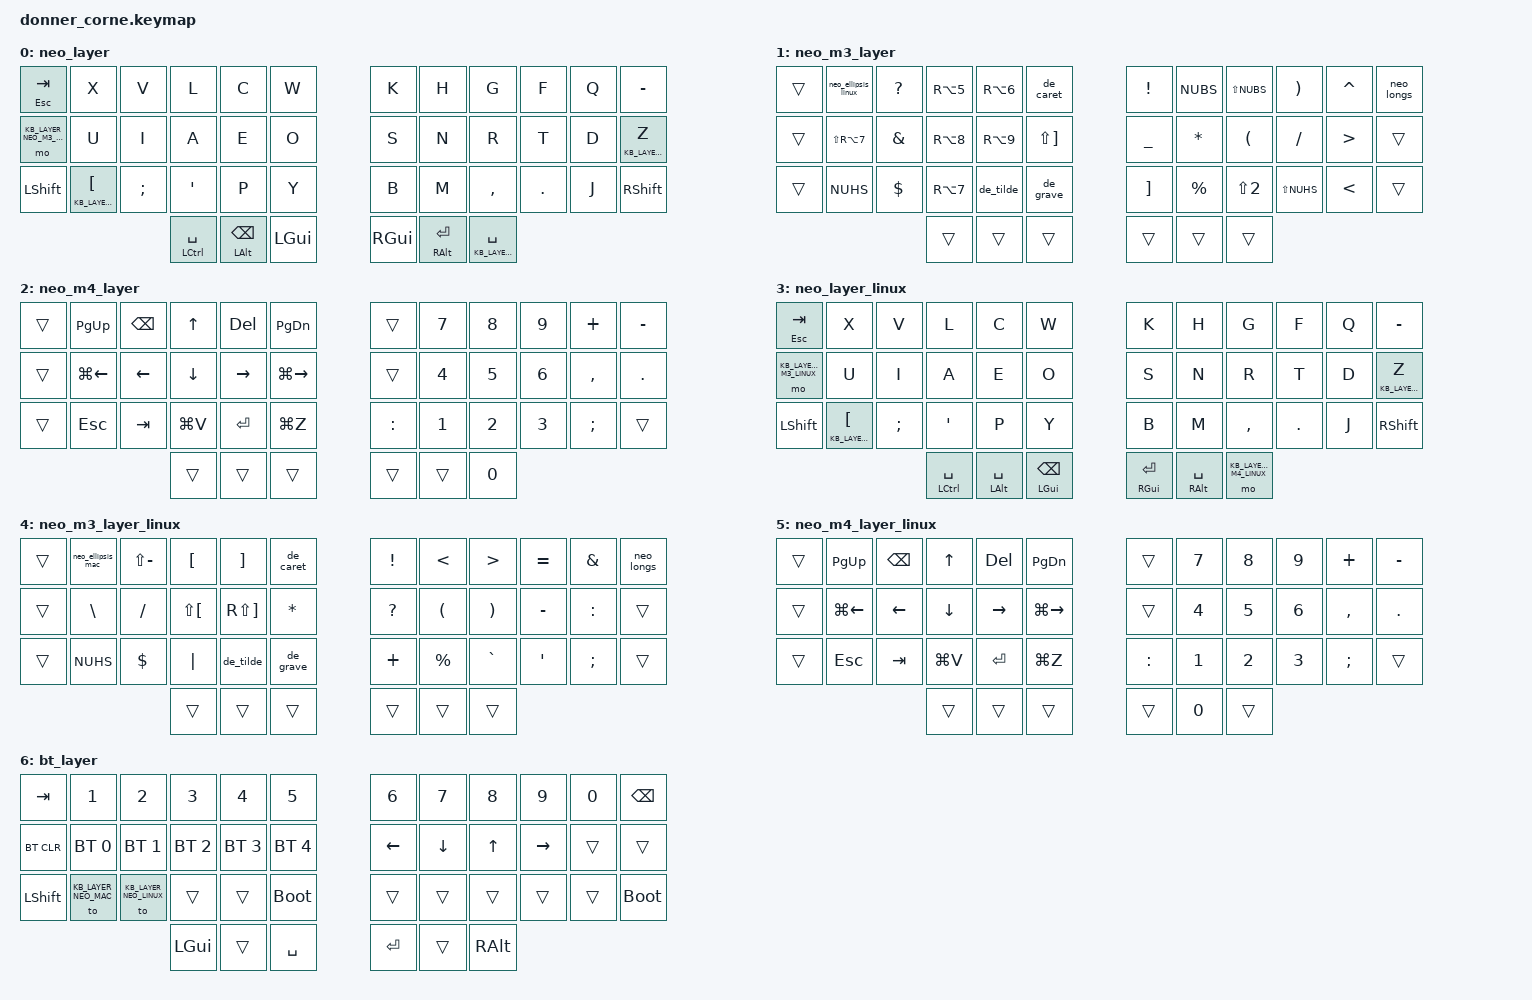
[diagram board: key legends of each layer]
/*
 * Copyright (c) 2020 The ZMK Contributors
 *
 * SPDX-License-Identifier: MIT
 */

#include <behaviors.dtsi>
#include <dt-bindings/zmk/keys.h>
#include <dt-bindings/zmk/bt.h>

#define KB_LAYER_NEO_MAC  0
#define KB_LAYER_NEO_M3_MAC  1
#define KB_LAYER_NEO_M4_MAC  2
#define KB_LAYER_NEO_LINUX  3
#define KB_LAYER_NEO_M3_LINUX  4
#define KB_LAYER_NEO_M4_LINUX  5
#define KB_LAYER_BT  6

/ {
        macros {
            neo_ellipsis_mac: neo_ellipsis_mac {
                compatible = "zmk,behavior-macro";
                #binding-cells = <0>;
                wait-ms = <30>;
                tap-ms = <30>;
                bindings = <
                    /* Platzhalter */
                    &kp DOT &kp DOT &kp DOT
                >;
            };

            neo_ellipsis_linux: neo_ellipsis_linux {
                compatible = "zmk,behavior-macro";
                #binding-cells = <0>;
                wait-ms = <30>;
                tap-ms = <30>;
                bindings = <
                    /* Platzhalter */
                    &kp DOT &kp DOT &kp DOT
                >;
            };

            neo_longs: neo_longs {
                compatible = "zmk,behavior-macro";
                #binding-cells = <0>;
                wait-ms = <30>;
                tap-ms = <30>;
                bindings = <
                    /* Platzhalter */
                    &trans
                >;
            };

            de_tilde: de_tilde {
                compatible = "zmk,behavior-macro";
                #binding-cells = <0>;
                wait-ms = <30>;
                tap-ms = <30>;
                bindings = <
                    &kp RA(N)     // Option + N → ~ (dead key)
                    &kp SPACE     // ergibt tatsächliches "~"
                >;
            };

            de_grave: de_grave { // '`'-Zeichen
                compatible = "zmk,behavior-macro";
                #binding-cells = <0>;
                wait-ms = <20>;
                tap-ms = <20>;
                bindings = <
                    &kp LS(EQUAL)
                    &kp SPACE
                >;
            };

            de_caret: de_caret { // '^'-Zeichen
                compatible = "zmk,behavior-macro";
                #binding-cells = <0>;
                wait-ms = <30>;
                tap-ms = <30>;
                bindings = <
                    &kp GRAVE
                    &kp SPACE
                >;
            };
        };
        keymap {
                compatible = "zmk,keymap";

                neo_layer {
// -----------------------------------------------------------------------------------------
// |      |  X  |  V  |  L  |  C        |  W      |   |  K      |  H        |  G   |  F  |  Q  | ß |
// |      |  U  |  I  |  A  |  E        |  O      |   |  S      |  N        |  R   |  T  |  D  | Y |
// |      |  Ü  |  Ö  |  Ä  |  P        |  Z      |   |  B      |  M        |  ,   |  .  |  J  |   |
//                    |     |           |         |   |         |           |      |
                        bindings = <
   &mt ESC TAB         &kp X                    &kp V    &kp L   &kp C &kp W           &kp K &kp H  &kp G     &kp F   &kp Q    &kp MINUS
   &mo KB_LAYER_NEO_M3_MAC &kp U                    &kp I    &kp A   &kp E &kp O           &kp S &kp N  &kp R     &kp T   &kp D    &lt KB_LAYER_NEO_M3_MAC Z
   &kp LSHIFT          &lt KB_LAYER_NEO_M4_MAC LBKT &kp SEMI &kp SQT &kp P &kp Y           &kp B &kp M  &kp COMMA &kp DOT &kp J    &kp RSHIFT
             &mt LCTRL SPACE &mt LALT BSPC &kp LGUI                             &kp RGUI &mt RALT RET &lt KB_LAYER_NEO_M4_MAC SPACE
                        >;
                };
                neo_m3_layer {
                        bindings = <

// soll:   …             _          [         ]          ^                !          <       >       =        &        ſ
// ist:    egal          _          [         ]          ^                !          <       >       =        &        egal
    &trans &neo_ellipsis_linux &kp QMARK &kp RA(N5) &kp RA(N6) &de_caret        &kp EXCL   &kp NUBS &kp LS(NUBS) &kp RPAR &kp CARET &neo_longs

// soll:   \              /        {          }          *                ?          (        )        -         :     @
// ist:    \              /        {          }          *                ?          (        )        -         :     Y
    &trans &kp LS(RA(N7)) &kp AMPS &kp RA(N8) &kp RA(N9) &kp LS(RBKT)     &kp UNDER  &kp STAR &kp LPAR &kp FSLH &kp GT &trans

// soll:   #        $        |        ~           `                       +          %         "       '        ;
// ist:    #        $        |        ~           `                       +          %         "       '        ;
    &trans &kp NUHS &kp DLLR &kp RA(N7) &de_tilde &de_grave               &kp RBKT   &kp PRCNT &kp LS(N2) &kp LS(NUHS) &kp LT &trans

                &trans &trans &trans                                     &trans &trans &trans
                        >;
                };

                /* TODO: Doppelpunktt */
neo_m4_layer {
    bindings = <
// soll: egal, eine Seite rauf, Zeichen links löschen, Cursor rauf, Zeichen rechts löschen, eine Seite runter, egal, 7, 8, 9, +, -
// ist: egal, eine Seite rauf, Zeichen links löschen, Cursor rauf, Zeichen rechts löschen, eine Seite runter, egal, 7, 8, 9, `, ß
     &trans &kp PG_UP &kp BSPC &kp UP   &kp DEL  &kp PG_DN      &trans &kp N7    &kp N8   &kp N9    &kp PLUS &kp MINUS
// soll: egal, Anfang Zeile, Cursor links, Cursor runter, Cursor rechts, Ende Zeile, egal, 4, 5, 6, Beistrich, Punkt
     &trans &kp LG(LEFT) &kp LEFT &kp DOWN &kp RIGHT &kp LG(RIGHT) &trans   &kp N4 &kp N5 &kp N6 &kp COMMA &kp DOT
// soll: egal, Escape, Tab, Paste, Enter, Rückgängig, Doppelpunkt, 1, 2, 3, Semikolon, egal
     &trans &kp ESC &kp TAB &kp LG(V) &kp RET &kp LG(Z)         &kp COLON &kp N1  &kp N2   &kp N3    &kp SEMI &trans
             &trans &trans &trans                             &trans &trans &kp N0
    >;
};




                neo_layer_linux {
// -----------------------------------------------------------------------------------------
// |      |  X  |  V  |  L  |  C        |  W      |   |  K      |  H        |  G   |  F  |  Q  | ß |
// |      |  U  |  I  |  A  |  E        |  O      |   |  S      |  N        |  R   |  T  |  D  | Y |
// |      |  Ü  |  Ö  |  Ä  |  P        |  Z      |   |  B      |  M        |  ,   |  .  |  J  |   |
//                    |     |           |         |   |         |           |      |
                        bindings = <
   &mt ESC TAB         &kp X                    &kp V    &kp L   &kp C &kp W           &kp K &kp H  &kp G     &kp F   &kp Q    &kp MINUS
   &mo KB_LAYER_NEO_M3_LINUX &kp U                    &kp I    &kp A   &kp E &kp O           &kp S &kp N  &kp R     &kp T   &kp D    &lt KB_LAYER_NEO_M3_LINUX Z
   &kp LSHIFT          &lt KB_LAYER_NEO_M4_LINUX LBKT &kp SEMI &kp SQT &kp P &kp Y           &kp B &kp M  &kp COMMA &kp DOT &kp J    &kp RSHIFT
             &mt LCTRL SPACE &mt LALT SPACE  &mt LGUI BSPC                             &mt RGUI RET &mt RALT SPACE &mo KB_LAYER_NEO_M4_LINUX
                        >;
                };

                neo_m3_layer_linux {
                        bindings = <

// soll:   …             _          [         ]          ^                !          <       >       =        &        ſ
// ist:    (Anpassung an direkte Keycodes für Linux/Windows)
    &trans &neo_ellipsis_mac &kp LS(MINUS) &kp LBKT &kp RBKT &de_caret        &kp EXCL   &kp LT &kp GT &kp EQUAL &kp AMPS &neo_longs

// soll:   \              /        {          }          *                ?          (        )        -         :  
// ist:    (Anpassung an direkte Keycodes für Linux/Windows)
    &trans &kp BSLH &kp FSLH &kp LS(LBKT) &kp RS(RBKT) &kp STAR &kp QMARK &kp LPAR &kp RPAR &kp MINUS &kp COLON &trans

// soll:   #        $        |        ~           `                       +          %         "       '        ;
// ist:    (Anpassung an direkte Keycodes für Linux/Windows)
    &trans &kp NUHS &kp DLLR &kp PIPE &de_tilde &de_grave               &kp PLUS &kp PRCNT &kp GRAVE &kp APOS &kp SEMI &trans

                &trans &trans &trans                                      &trans &trans &trans
                        >;
                };


                /* TODO: Doppelpunktt */
neo_m4_layer_linux {
    bindings = <
// soll: egal, eine Seite rauf, Zeichen links löschen, Cursor rauf, Zeichen rechts löschen, eine Seite runter, egal, 7, 8, 9, +, -
// ist: egal, eine Seite rauf, Zeichen links löschen, Cursor rauf, Zeichen rechts löschen, eine Seite runter, egal, 7, 8, 9, `, ß
     &trans &kp PG_UP &kp BSPC &kp UP   &kp DEL  &kp PG_DN      &trans &kp N7    &kp N8   &kp N9    &kp PLUS &kp MINUS
// soll: egal, Anfang Zeile, Cursor links, Cursor runter, Cursor rechts, Ende Zeile, egal, 4, 5, 6, Beistrich, Punkt
     &trans &kp LG(LEFT) &kp LEFT &kp DOWN &kp RIGHT &kp LG(RIGHT) &trans   &kp N4 &kp N5 &kp N6 &kp COMMA &kp DOT
// soll: egal, Escape, Tab, Paste, Enter, Rückgängig, Doppelpunkt, 1, 2, 3, Semikolon, egal
     &trans &kp ESC &kp TAB &kp LG(V) &kp RET &kp LG(Z)         &kp COLON &kp N1  &kp N2   &kp N3    &kp SEMI &trans
             &trans &trans &trans                             &trans &kp N0 &trans
    >;
};





                bt_layer {
// -----------------------------------------------------------------------------------------
// |  TAB |  1  |  2  |  3  |  4  |  5  |   |  6  |  7  |  8  |  9  |  0  | BSPC |
// | BTCLR| BT1 | BT2 | BT3 | BT4 | BT5 |   | LFT | DWN |  UP | RGT |     |      |
// | SHFT |     |     |     |     |     |   |     |     |     |     |     |      |
//                    | GUI |     | SPC |   | ENT |     | ALT |
                        bindings = <
   &kp TAB    &kp N1       &kp N2       &kp N3       &kp N4       &kp N5         &kp N6   &kp N7   &kp N8 &kp N9    &kp N0 &kp BSPC
   &bt BT_CLR &bt BT_SEL 0 &bt BT_SEL 1 &bt BT_SEL 2 &bt BT_SEL 3 &bt BT_SEL 4   &kp LEFT &kp DOWN &kp UP &kp RIGHT &trans &trans
   &kp LSHFT  &to KB_LAYER_NEO_MAC       &to KB_LAYER_NEO_LINUX       &trans       &trans       &bootloader         &trans   &trans   &trans &trans    &trans &bootloader
                                    &kp LGUI     &trans       &kp SPACE      &kp RET  &trans   &kp RALT
                        >;
                };
        };

};

/ {
    combos {
        compatible = "zmk,combos";

        left_thumb_layer_bt {
            timeout-ms = <50>;
            slow-release;
            key-positions = <36 37 38>;
            bindings = <&mo KB_LAYER_BT>;
        };

        combo_bootloader_left {
            timeout-ms = <50>;
            key-positions = <0 1 2>;
            bindings = <&bootloader>;
        };

    };
};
